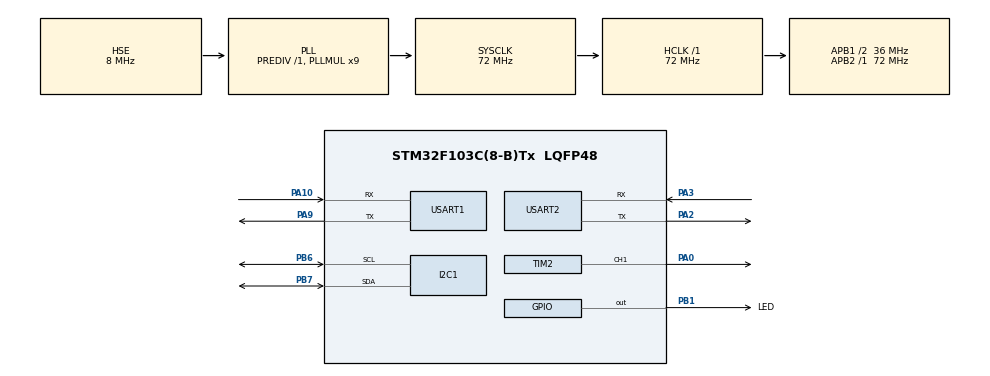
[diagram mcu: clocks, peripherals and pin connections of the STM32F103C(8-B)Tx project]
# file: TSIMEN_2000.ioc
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ADC1.Channel-0\#ChannelRegularConversion=ADC_CHANNEL_TEMPSENSOR
ADC1.ContinuousConvMode=ENABLE
ADC1.NbrOfConversionFlag=1
ADC1.Rank-0\#ChannelRegularConversion=1
ADC1.SamplingTime-0\#ChannelRegularConversion=ADC_SAMPLETIME_71CYCLES_5
ADC1.master=1
Dma.Request0=USART1_RX
Dma.Request1=USART1_TX
Dma.Request2=USART2_RX
Dma.Request3=USART2_TX
Dma.USART1_RX.0.Direction=DMA_PERIPH_TO_MEMORY
Dma.USART1_RX.0.Instance=DMA1_Channel5
Dma.USART1_RX.0.MemDataAlignment=DMA_MDATAALIGN_BYTE
Dma.USART1_RX.0.MemInc=DMA_MINC_ENABLE
Dma.USART1_RX.0.Mode=DMA_CIRCULAR
Dma.USART1_RX.0.PeriphDataAlignment=DMA_PDATAALIGN_BYTE
Dma.USART1_RX.0.PeriphInc=DMA_PINC_DISABLE
Dma.USART1_RX.0.Priority=DMA_PRIORITY_LOW
Dma.USART1_TX.1.Direction=DMA_MEMORY_TO_PERIPH
Dma.USART1_TX.1.Instance=DMA1_Channel4
Dma.USART1_TX.1.MemDataAlignment=DMA_MDATAALIGN_BYTE
Dma.USART1_TX.1.MemInc=DMA_MINC_ENABLE
Dma.USART1_TX.1.Mode=DMA_NORMAL
Dma.USART1_TX.1.PeriphDataAlignment=DMA_PDATAALIGN_BYTE
Dma.USART1_TX.1.PeriphInc=DMA_PINC_DISABLE
Dma.USART1_TX.1.Priority=DMA_PRIORITY_LOW
Dma.USART2_RX.2.Direction=DMA_PERIPH_TO_MEMORY
Dma.USART2_RX.2.Instance=DMA1_Channel6
Dma.USART2_RX.2.MemDataAlignment=DMA_MDATAALIGN_BYTE
Dma.USART2_RX.2.MemInc=DMA_MINC_ENABLE
Dma.USART2_RX.2.Mode=DMA_CIRCULAR
Dma.USART2_RX.2.PeriphDataAlignment=DMA_PDATAALIGN_BYTE
Dma.USART2_RX.2.PeriphInc=DMA_PINC_DISABLE
Dma.USART2_RX.2.Priority=DMA_PRIORITY_LOW
Dma.USART2_TX.3.Direction=DMA_MEMORY_TO_PERIPH
Dma.USART2_TX.3.Instance=DMA1_Channel7
Dma.USART2_TX.3.MemDataAlignment=DMA_MDATAALIGN_BYTE
Dma.USART2_TX.3.MemInc=DMA_MINC_ENABLE
Dma.USART2_TX.3.Mode=DMA_NORMAL
Dma.USART2_TX.3.PeriphDataAlignment=DMA_PDATAALIGN_BYTE
Dma.USART2_TX.3.PeriphInc=DMA_PINC_DISABLE
Dma.USART2_TX.3.Priority=DMA_PRIORITY_LOW
Mcu.Family=STM32F1
Mcu.Name=STM32F103C(8-B)Tx
Mcu.Package=LQFP48
NVIC.DMA1_Channel4_IRQn=true\:1\:0\:true\:false\:true\:false\:true
NVIC.DMA1_Channel5_IRQn=true\:1\:0\:true\:false\:true\:false\:true
NVIC.DMA1_Channel6_IRQn=true\:1\:0\:true\:false\:true\:false\:true
NVIC.DMA1_Channel7_IRQn=true\:1\:0\:true\:false\:true\:false\:true
NVIC.PriorityGroup=NVIC_PRIORITYGROUP_4
NVIC.TIM3_IRQn=true\:0\:0\:true\:false\:true\:true\:true
NVIC.USART1_IRQn=true\:1\:0\:true\:false\:true\:true\:true
NVIC.USART2_IRQn=true\:1\:0\:true\:false\:true\:true\:true
PA0-WKUP.Signal=S_TIM2_CH1_ETR
PA10.GPIO_PuPd=GPIO_PULLUP
PA10.Mode=Asynchronous
PA10.Signal=USART1_RX
PA13.Mode=Serial_Wire
PA13.Signal=SYS_JTMS-SWDIO
PA14.Mode=Serial_Wire
PA14.Signal=SYS_JTCK-SWCLK
PA2.Mode=Asynchronous
PA2.Signal=USART2_TX
PA3.GPIO_PuPd=GPIO_PULLUP
PA3.Mode=Asynchronous
PA3.Signal=USART2_RX
PA9.Mode=Asynchronous
PA9.Signal=USART1_TX
PB1.GPIO_Label=LED
PB1.Signal=GPIO_Output
PB6.Mode=I2C
PB6.Signal=I2C1_SCL
PB7.Mode=I2C
PB7.Signal=I2C1_SDA
PD0-OSC_IN.Mode=HSE-External-Oscillator
PD0-OSC_IN.Signal=RCC_OSC_IN
PD1-OSC_OUT.Mode=HSE-External-Oscillator
PD1-OSC_OUT.Signal=RCC_OSC_OUT
ProjectManager.HeapSize=0x200
ProjectManager.StackSize=0x400
ProjectManager.TargetToolchain=MDK-ARM V5
RCC.ADCPresc=RCC_ADCPCLK2_DIV6
RCC.AHBFreq_Value=72000000
RCC.APB1CLKDivider=RCC_HCLK_DIV2
RCC.APB1Freq_Value=36000000
RCC.APB1TimFreq_Value=72000000
RCC.APB2Freq_Value=72000000
RCC.APB2TimFreq_Value=72000000
RCC.HCLKFreq_Value=72000000
RCC.PLLMUL=RCC_PLL_MUL9
RCC.PLLSourceVirtual=RCC_PLLSOURCE_HSE
RCC.SYSCLKFreq_VALUE=72000000
RCC.SYSCLKSource=RCC_SYSCLKSOURCE_PLLCLK
RCC.USBFreq_Value=72000000
SH.S_TIM2_CH1_ETR.0=TIM2_CH1,PWM Generation1 CH1
TIM2.Channel-PWM\ Generation1\ CH1=TIM_CHANNEL_1
TIM2.Period=19999
TIM2.Prescaler=71
TIM3.AutoReloadPreload=TIM_AUTORELOAD_PRELOAD_ENABLE
TIM3.Period=19999
TIM3.Prescaler=7199
USART1.VirtualMode=VM_ASYNC
USART2.VirtualMode=VM_ASYNC
VP_ADC1_TempSens_Input.Mode=IN-TempSens
VP_TIM3_VS_ClockSourceINT.Mode=Internal
board=custom

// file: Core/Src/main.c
/* USER CODE BEGIN Header */
/**
  ******************************************************************************
  * @file           : main.c
  * @brief          : Main program body
  ******************************************************************************
  * @attention
  *
  * Copyright (c) 2022 STMicroelectronics.
  * All rights reserved.
  *
  * This software is licensed under terms that can be found in the LICENSE file
  * in the root directory of this software component.
  * If no LICENSE file comes with this software, it is provided AS-IS.
  *
  ******************************************************************************
  */
/* USER CODE END Header */
#include "main.h"
#include "adc.h"
#include "dma.h"
#include "i2c.h"
#include "tim.h"
#include "usart.h"
#include "gpio.h"

/* USER CODE BEGIN Includes */
#include "sht30_i2c_driver.h"
#include <stdio.h>
#include <stdlib.h>
#include <string.h>
#include <math.h>
/* USER CODE END Includes */

/* USER CODE BEGIN PV */

//----- Miscellaneous variable definitions
uint8_t CRC_j = 0, CRC_i = 0, WHILEA = 0, memv_i = 0, A = 0;
uint32_t WAIT_TIME = 0x00000000;
uint16_t crc = 0xFFFF, CRC16 = 0;
uint8_t CRC_DATA[8], CHECKDATA[8], SPECTRAL_DATA[2063], DoubleBuf[8],sadasee;
// double Wave_Coefficient[6] = {0.11,-0.111,0.01,0.02,0.003,121.04},Wavelength[1024] = {0};
double Wave_Coefficient[6] = {0.11,-0.1232,0.332,0.1421,0.223,181.87652}, Wavelength;
float Energy[16388];
int PWM_DARK = 950, PWM_REFERENCE = 1130, PWM_SAMPLE = 700;
long long int Dou_i = 0;

//----- Master computer communication command (11 instructions)
uint8_t USART1_Tsimen_Reset[]     = {0x01,0x01,0x00,0x00,0x00,0x00,0x0A,0x3C};      // Global reset
// uint8_t USART1_Tsimen_Version[]   = {'T','S','-','2','0','0','0','-','0','0','0','0','0','1'};        // Tsimen Code Version
uint8_t USART1_Tsimen_Version[]   = "TS-2000-000001";                               // Tsimen Code Version
uint8_t USART1_Tsimen_Ver[]       = {0x01,0x02,0x00,0x00,0x00,0x00,0x0A,0x78};      // Read the sensor version
uint8_t USART1_Tsimen_Int[]       = {0x01,0x03,0x00,0x00,0x01,0xF4,0xDD,0x45};      // Set the spectrometer integration time (example)
uint8_t USART1_Tsimen_CheckInt[]  = {0x01,0x04,0x00,0x00,0x00,0x00,0x0A,0xF0};      // Check the current integration time of the spectrometer
uint8_t USART1_Tsimen_Ave[]       = {0x01,0x05,0x00,0x32,0x00,0x00,0x05,0x6C};      // Set the spectrometer average Times (example)
uint8_t USART1_Tsimen_CheckAve[]  = {0x01,0x06,0x00,0x00,0x00,0x00,0xCA,0x89};      // Check the current average times of the spectrometer
uint8_t USART1_Tsimen_DarSignal[] = {0x01,0x07,0x00,0x00,0x00,0x00,0x0A,0xB4};      // Read the spectrometer data under dark current conditions
uint8_t USART1_Tsimen_RefSignal[] = {0x01,0x08,0x00,0x00,0x00,0x00,0x0B,0xE0};      // Read the spectrometer data under reference signal conditions
uint8_t USART1_Tsimen_SamSignal[] = {0x01,0x09,0x00,0x00,0x00,0x00,0xCB,0xDD};      // Read the spectrometer data under sample signal conditions
uint8_t USART1_Tsimen_FullData[]  = {0x01,0x0A,0x00,0x00,0x00,0x00,0xCB,0x99};      // One-click acquisition of dark, parametric and sample spectrometer data
uint8_t USART1_Tsimen_TempData[]  = {0x01,0x0B,0x00,0x00,0x00,0x00,0x0B,0xA4};      // Read temperature and humidity data
uint8_t USART1_Tsimen_Jump[]      = {0x01,0x0C,0x00,0x00,0x00,0x00,0xCB,0x11};      // Send message to the STM32 for                                                              w'd jumping out of loop.
uint8_t USART1_Tsimen_OK[]        = {0x01,0x52,0x49};                               // OK code
uint8_t USART1_Tsimen_ERROR[]     = {0x01,0x46,0x41};                               // ERROR code
uint8_t USART1_Tsimen_SpecOK[]    = {0x01,0x53,0x50,0x45,0x43,0x4f,0x4b};           // Handle with the Spectrometer
uint8_t USART1_Tsimen_SpecERROR[] = {0x01,0x53,0x50,0x45,0x43,0x45,0x52};           // Spectrometer has some problems, maybe it is broken
uint8_t USART1_Tsimen_CRCERROR[]  = {0x01,0x43,0x52,0x43,0x45,0x52};                // CRC ERROR
uint8_t USART1_Tsimen_WL[]        = {0x01,0x0D,0x00,0x00,0x00,0x00,0x0B,0x2C};      // Read the calibrated wavelength
uint8_t USART1_Tsimen_SetWL[]     = {0x01,0x0E,0x00,0x00,0x00,0x00,0x00,0x00,0x00,0x00,0x00,0x00,0x00,0x00,0x00,0x00,0x00,0x00,0x00,0x00,0x00,0x00,0x00,0x00,0x00,0x00,0xC4,0xCE};
uint8_t USART1_Tsimen_WC[]        = {0x01,0x0F,0x00,0x00,0x00,0x00,0xCB,0X55};      // Read the wavelength cofficient
uint8_t USART1_Tsimen_SetEN[]     = {0x01,0x10};                                    // Set the energy cofficient

//----- Spectrometer communication command ()
uint8_t USART2_Spec_Reset[]       = {0x52,0xBD,0x3E};                               // Spec reset
uint8_t USART2_Spec_Int[]         = {0x69,0x00,0x00,0x01,0xF4,0x1E,0x78};           // Set spec int time
uint8_t USART2_Spec_Int_Default[] = {0x69,0x00,0x00,0x01,0xF4,0x1E,0x78};           // Default spec int time
uint8_t USART2_Spec_CheckInt[]    = {0x3F,0x69,0x6E,0xD0};                          // Check spec int time
uint8_t USART2_Spec_Ave[]         = {0x41,0x00,0x14,0xDB,0x21};                     // Set spec average
uint8_t USART2_Spec_Ave_Default[] = {0x41,0x00,0x32,0x01,0xA0};                     // Default spec average
uint8_t USART2_Spec_CheckAve[]    = {0x3F,0x41,0x70,0xD0};                          // Check spec average
uint8_t USART2_Spec_XenonOff[]    = {0x31,0x00,0x20,0x14};                          // Turn the xenon off
uint8_t USART2_Spec_XenonOnCon[]  = {0x31,0x01,0xE0,0xD5};                          // Turn the xenon on under continuous mode
uint8_t USART2_Spec_XenonOnOne[]  = {0x31,0x81,0x40,0xD4};                          // Turn the xenon on under signal mode
uint8_t USART2_Spec_Data[]        = {0x53,0x7D,0xFF};                               // Read spec data
uint8_t USART2_Spec_OK[]          = {0x06,0x42,0x3F};                               // OK code
uint8_t USART2_Spec_ERROR[]       = {0x15,0x8F,0x7E};                               // ERROR code
uint8_t USART2_Spec_FormData[]    = {0x06,0xAA,0x55,0xBB,0x44,0xCC,0x33,0xDD,0x22}; // Spectrometer Form Data

/* USER CODE END PV */

void SystemClock_Config(void);

int main(void)
{

  /* MCU Configuration--------------------------------------------------------*/

  /* Reset of all peripherals, Initializes the Flash interface and the Systick. */
  HAL_Init();

  /* USER CODE BEGIN Init */
  memset(I2CRXBuffer,0,sizeof(I2CRXBuffer));
  memset(CRC_DATA,0,sizeof(CRC_DATA));
  memset(DATA_CACHE1,0,RX1BUFFERSIZE);
  memset(DATA_CACHE2,0,RX2BUFFERSIZE);
  /* USER CODE END Init */

  /* Configure the system clock */
  SystemClock_Config();

  /* Initialize all configured peripherals */
  MX_GPIO_Init();
  MX_DMA_Init();
  MX_ADC1_Init();
  MX_I2C1_Init();
  MX_TIM2_Init();
  MX_USART1_UART_Init();
  MX_USART2_UART_Init();
  MX_TIM3_Init();
  /* USER CODE BEGIN 2 */
  STM32_Init();
  SPEC_Init();

  // __HAL_TIM_SET_COMPARE(&htim2,TIM_CHANNEL_1,2500);
  // HAL_Delay(1500);

  // HAL_TIM_Base_Start_IT(&htim3);

  /* USER CODE END 2 */

  /* Infinite loop */
  /* USER CODE BEGIN WHILE */
  while (1)
  {

    //----- Working LED
    HAL_GPIO_TogglePin(GPIOB,LED_Pin);
    HAL_Delay(50);

    /*--------------------------------------------------Main Part-------------------------------------------------------*/

    //----- command one: Global reset
    if (memcmp(DATA_CACHE1,USART1_Tsimen_Reset,sizeof(USART1_Tsimen_Reset)) == RESET)
    {
      CRC16 = ModBus_CRC16(DATA_CACHE1,6);
      if (DATA_CACHE1[7]==(uint8_t)CRC16&0xFF && DATA_CACHE1[6]==(uint8_t)(CRC16>>8)&0xFF)
      {
        CRC16 = 0;
        // __set_PRIMASK(1);
        // HAL_NVIC_SystemReset();
        PWM_PulseWidth(PWM_DARK);
        HAL_UART_Transmit(&huart2,USART2_Spec_Reset,sizeof(USART2_Spec_Reset),0xFFFF);
        HAL_Delay(1500);
        HAL_UART_Transmit(&huart2,USART2_Spec_Int_Default,sizeof(USART2_Spec_Int_Default),0xFFFF);
        HAL_Delay(30);
        HAL_UART_Transmit(&huart2,USART2_Spec_Ave_Default,sizeof(USART2_Spec_Ave_Default),0xFFFF);
        HAL_Delay(30);
        // Config_WaitTime();
        WaitandClear();
      }

      else
      {
        HAL_UART_Transmit(&huart1,USART1_Tsimen_CRCERROR,sizeof(USART1_Tsimen_CRCERROR),0xFFFF);
        memset(DATA_CACHE1,0,RX1BUFFERSIZE);
      }
    }

    //----- command two: Read the sensor Version
    else if (memcmp(DATA_CACHE1,USART1_Tsimen_Ver,6) == RESET)
    {
      CRC16 = ModBus_CRC16(DATA_CACHE1,6);
      if (DATA_CACHE1[7]==(uint8_t)CRC16&0xFF && DATA_CACHE1[6]==(uint8_t)(CRC16>>8)&0xFF)
      {
        CRC16 = 0; //Reset the CRC16 virable
        HAL_UART_Transmit(&huart1,USART1_Tsimen_Version,sizeof(USART1_Tsimen_Version),0xFFFF);
        memset(DATA_CACHE1,0,RX1BUFFERSIZE);
      }
      else
      {
        HAL_UART_Transmit(&huart1,USART1_Tsimen_CRCERROR,sizeof(USART1_Tsimen_CRCERROR),0xFFFF);
        memset(DATA_CACHE1,0,RX1BUFFERSIZE);
      }
    }

    //----- command three: Set the spectrometer integration time
    else if (memcmp(DATA_CACHE1,USART1_Tsimen_Int,2) == RESET)
    {
      CRC16 = ModBus_CRC16(DATA_CACHE1,6);
      if (DATA_CACHE1[7]==(uint8_t)CRC16&0xFF && DATA_CACHE1[6]==(uint8_t)(CRC16>>8)&0xFF)
      {
        CRC16 = 0;
        memv(USART2_Spec_Int,DATA_CACHE1,2,3,4);
        CRC16 = ModBus_CRC16(USART2_Spec_Int,5);
        USART2_Spec_Int[6] = CRC16&0xFF;
        USART2_Spec_Int[5] = (CRC16>>8)&0xFF;
        CRC16 = 0;
        HAL_UART_Transmit(&huart2,USART2_Spec_Int,sizeof(USART2_Spec_Int),0xFFFF);
        HAL_Delay(30);
        WaitandClear();
        // Config_WaitTime();
      }

      else
      {
        HAL_UART_Transmit(&huart1,USART1_Tsimen_CRCERROR,sizeof(USART1_Tsimen_CRCERROR),0xFFFF);
        memset(DATA_CACHE1,0,RX1BUFFERSIZE);
      }
    }

    //----- command four: Check the spectrometer integration time
    else if (memcmp(DATA_CACHE1,USART1_Tsimen_CheckInt,sizeof(USART1_Tsimen_CheckInt)) == RESET)
    {
      CRC16 = ModBus_CRC16(DATA_CACHE1,6);
      if (DATA_CACHE1[7]==(uint8_t)CRC16&0xFF && DATA_CACHE1[6]==(uint8_t)(CRC16>>8)&0xFF)
      {
        CRC16 = 0;
        HAL_UART_Transmit(&huart2,USART2_Spec_CheckInt,sizeof(USART2_Spec_CheckInt),0xFFFF);
        HAL_Delay(30);
        memv(CHECKDATA,DATA_CACHE2,1,2,4);
        HAL_UART_Transmit(&huart1,CHECKDATA,4,0xFFFF);
        USART_RX2_LENDEMO = 0;
        memset(DATA_CACHE1,0,RX1BUFFERSIZE);
        memset(DATA_CACHE2,0,RX2BUFFERSIZE);
      }

      else
      {
        HAL_UART_Transmit(&huart1,USART1_Tsimen_CRCERROR,sizeof(USART1_Tsimen_CRCERROR),0xFFFF);
        memset(DATA_CACHE1,0,RX1BUFFERSIZE);
      }
    }

    //----- command five: Set the spectrometer average Times
    else if (memcmp(DATA_CACHE1,USART1_Tsimen_Ave,2) == RESET)
    {
      CRC16 = ModBus_CRC16(DATA_CACHE1,6);
      if (DATA_CACHE1[7]==(uint8_t)CRC16&0xFF && DATA_CACHE1[6]==(uint8_t)(CRC16>>8)&0xFF)
      {
        CRC16 = 0;
        memv(USART2_Spec_Ave,DATA_CACHE1,2,3,2);
        CRC16 = ModBus_CRC16(USART2_Spec_Ave,3);
        USART2_Spec_Ave[4] = CRC16&0xFF;
        USART2_Spec_Ave[3] = (CRC16>>8)&0xFF;
        CRC16 = 0;
        HAL_UART_Transmit(&huart2,USART2_Spec_Ave,sizeof(USART2_Spec_Ave),0xFFFF);
        HAL_Delay(30);
        WaitandClear();
        // Config_WaitTime();
      }

      else
      {
        HAL_UART_Transmit(&huart1,USART1_Tsimen_CRCERROR,sizeof(USART1_Tsimen_CRCERROR),0xFFFF);
        memset(DATA_CACHE1,0,RX1BUFFERSIZE);
      }
    }

    //----- command six: Check the current average times of the spectrometer
    else if (memcmp(DATA_CACHE1,USART1_Tsimen_CheckAve,sizeof(USART2_Spec_CheckAve)) == RESET)
    {
      CRC16 = ModBus_CRC16(DATA_CACHE1,6);
      if (DATA_CACHE1[7]==(uint8_t)CRC16&0xFF && DATA_CACHE1[6]==(uint8_t)(CRC16>>8)&0xFF)
      {
        CRC16 = 0;
        HAL_UART_Transmit(&huart2,USART2_Spec_CheckAve,sizeof(USART2_Spec_CheckAve),0xFFFF);
        HAL_Delay(30);
        memv(CHECKDATA,DATA_CACHE2,1,2,2);
        HAL_UART_Transmit(&huart1,CHECKDATA,2,0xFFFF);
        USART_RX2_LENDEMO = 0;
        memset(DATA_CACHE1,0,RX1BUFFERSIZE);
        memset(DATA_CACHE2,0,RX2BUFFERSIZE);
      }

      else
      {
        HAL_UART_Transmit(&huart1,USART1_Tsimen_CRCERROR,sizeof(USART1_Tsimen_CRCERROR),0xFFFF);
        memset(DATA_CACHE1,0,RX1BUFFERSIZE);
      }
    }

    //----- command seven: Read the spectrometer data under dark current conditions
    else if (memcmp(DATA_CACHE1,USART1_Tsimen_DarSignal,sizeof(USART1_Tsimen_DarSignal)) == RESET)
    {
      CRC16 = ModBus_CRC16(DATA_CACHE1,6);
      if (DATA_CACHE1[7]==(uint8_t)CRC16&0xFF && DATA_CACHE1[6]==(uint8_t)(CRC16>>8)&0xFF)
      {
        CRC16 = 0;
        HAL_UART_DMAStop(&huart1);
        __HAL_UART_DISABLE_IT(&huart1,UART_IT_IDLE);
        GetSpecData(USART2_Spec_XenonOff,PWM_DARK);
        __HAL_UART_ENABLE_IT(&huart1,UART_IT_IDLE);
        HAL_UART_Receive_DMA(&huart1,USART_RX1_BUFFER,RX1BUFFERSIZE);
      }

      else
      {
        HAL_UART_Transmit(&huart1,USART1_Tsimen_CRCERROR,sizeof(USART1_Tsimen_CRCERROR),0xFFFF);
        memset(DATA_CACHE1,0,RX1BUFFERSIZE);
      }
    }

    //----- command eight: Read the spectrometer data under reference signal conditions
    else if (memcmp(DATA_CACHE1,USART1_Tsimen_RefSignal,sizeof(USART1_Tsimen_RefSignal)) == RESET)
    {
      CRC16 = ModBus_CRC16(DATA_CACHE1,6);
      if (DATA_CACHE1[7]==(uint8_t)CRC16&0xFF && DATA_CACHE1[6]==(uint8_t)(CRC16>>8)&0xFF)
      {
        CRC16 = 0;
        HAL_UART_DMAStop(&huart1);
        __HAL_UART_DISABLE_IT(&huart1,UART_IT_IDLE);
        GetSpecData(USART2_Spec_XenonOnOne,PWM_REFERENCE);
        __HAL_UART_ENABLE_IT(&huart1,UART_IT_IDLE);
        HAL_UART_Receive_DMA(&huart1,USART_RX1_BUFFER,RX1BUFFERSIZE);
      }

      else
      {
        HAL_UART_Transmit(&huart1,USART1_Tsimen_CRCERROR,sizeof(USART1_Tsimen_CRCERROR),0xFFFF);
        memset(DATA_CACHE1,0,RX1BUFFERSIZE);
      }
    }

    //----- command nine: Read the spectrometer data under sample signal conditions
    else if (memcmp(DATA_CACHE1,USART1_Tsimen_SamSignal,sizeof(USART1_Tsimen_SamSignal)) == RESET)
    {
      CRC16 = ModBus_CRC16(DATA_CACHE1,6);
      if (DATA_CACHE1[7]==(uint8_t)CRC16&0xFF && DATA_CACHE1[6]==(uint8_t)(CRC16>>8)&0xFF)
      {
        CRC16 = 0;
        HAL_UART_DMAStop(&huart1);
        __HAL_UART_DISABLE_IT(&huart1,UART_IT_IDLE);
        GetSpecData(USART2_Spec_XenonOnOne,PWM_SAMPLE);
        __HAL_UART_ENABLE_IT(&huart1,UART_IT_IDLE);
        HAL_UART_Receive_DMA(&huart1,USART_RX1_BUFFER,RX1BUFFERSIZE);
      }

      else
      {
        HAL_UART_Transmit(&huart1,USART1_Tsimen_CRCERROR,sizeof(USART1_Tsimen_CRCERROR),0xFFFF);
        memset(DATA_CACHE1,0,RX1BUFFERSIZE);
      }
    }

    //----- command ten: One-click acquisition of dark, parametric and sample spectrometer data
    else if (memcmp(DATA_CACHE1,USART1_Tsimen_FullData,sizeof(USART1_Tsimen_FullData)) == RESET)
    {
      CRC16 = ModBus_CRC16(DATA_CACHE1,6);
      if (DATA_CACHE1[7]==(uint8_t)CRC16&0xFF && DATA_CACHE1[6]==(uint8_t)(CRC16>>8)&0xFF)
      {
        CRC16 = 0;
        HAL_UART_DMAStop(&huart1);
        __HAL_UART_DISABLE_IT(&huart1,UART_IT_IDLE);
        GetSpecData(USART2_Spec_XenonOff,PWM_DARK);
        HAL_Delay(50);
        GetSpecData(USART2_Spec_XenonOnOne,PWM_REFERENCE);
        HAL_Delay(50);
        GetSpecData(USART2_Spec_XenonOnOne,PWM_SAMPLE);
        __HAL_UART_ENABLE_IT(&huart1,UART_IT_IDLE);
        HAL_UART_Receive_DMA(&huart1,USART_RX1_BUFFER,RX1BUFFERSIZE);
      }

      else
      {
        HAL_UART_Transmit(&huart1,USART1_Tsimen_CRCERROR,sizeof(USART1_Tsimen_CRCERROR),0xFFFF);
        memset(DATA_CACHE1,0,RX1BUFFERSIZE);
      }
    }

    //----- command eleven: Read temperature and humidity data
    else if (memcmp(DATA_CACHE1,USART1_Tsimen_TempData,sizeof(USART1_Tsimen_TempData)) == RESET)
    {
      CRC16 = ModBus_CRC16(DATA_CACHE1,6);
      if (DATA_CACHE1[7]==(uint8_t)CRC16&0xFF && DATA_CACHE1[6]==(uint8_t)(CRC16>>8)&0xFF)
      {
        CRC16 = 0;
        HAL_UART_DMAStop(&huart1);
        __HAL_UART_DISABLE_IT(&huart1,UART_IT_IDLE);
        HAL_UART_DMAStop(&huart2);
        __HAL_UART_DISABLE_IT(&huart2,UART_IT_IDLE);
        Measure_TR();
        InsideTemperature();
        __HAL_UART_ENABLE_IT(&huart1,UART_IT_IDLE);
        HAL_UART_Receive_DMA(&huart1,USART_RX1_BUFFER,RX1BUFFERSIZE);
        __HAL_UART_ENABLE_IT(&huart2,UART_IT_IDLE);
        HAL_UART_Receive_DMA(&huart2,USART_RX2_BUFFER,RX2BUFFERSIZE);
        memset(DATA_CACHE1,0,RX1BUFFERSIZE);
      }

      else
      {
        HAL_UART_Transmit(&huart1,USART1_Tsimen_CRCERROR,sizeof(USART1_Tsimen_CRCERROR),0xFFFF);
        memset(DATA_CACHE1,0,RX1BUFFERSIZE);
      }
    }
  __HAL_TIM_SET_COMPARE(&htim2,TIM_CHANNEL_1,PWM_DARK);
  HAL_Delay(500);
  __HAL_TIM_SET_COMPARE(&htim2,TIM_CHANNEL_1,PWM_REFERENCE);
  HAL_Delay(500);
  __HAL_TIM_SET_COMPARE(&htim2,TIM_CHANNEL_1,PWM_SAMPLE);
  HAL_Delay(500);
    //----- command twelve: Read the wavelenth
    // else if (memcmp(DATA_CACHE1,USART1_Tsimen_WL,sizeof(USART1_Tsimen_WL)) == RESET)
    // {
    //   CRC16 = ModBus_CRC16(DATA_CACHE1,6);
    //   if (DATA_CACHE1[7]==(uint8_t)CRC16&0xFF && DATA_CACHE1[6]==(uint8_t)(CRC16>>8)&0xFF)
    //   {
    //     CRC16 = 0;

    //     //Counter the wavelenth and Send them to the master
    //     for (Dou_i=1;Dou_i<1025;Dou_i++)
    //     {
    //       Wavelength =
    //       Wave_Coefficient[0]*(long long int)Dou_i*(long long int)Dou_i*(long long int)Dou_i*(long long int)Dou_i*(long long int)Dou_i+
    //       Wave_Coefficient[1]*(long long int)Dou_i*(long long int)Dou_i*(long long int)Dou_i*(long long int)Dou_i+
    //       Wave_Coefficient[2]*(long long int)Dou_i*(long long int)Dou_i*(long long int)Dou_i+
    //       Wave_Coefficient[3]*(long long int)Dou_i*(long long int)Dou_i+
    //       Wave_Coefficient[4]*(long long int)Dou_i+
    //       Wave_Coefficient[5];
    //       // // DoubleBuf[7] = *((uint8_t*)&Wavelength);
    //       // // DoubleBuf[6] = *((uint8_t*)&Wavelength+1);
    //       // // DoubleBuf[5] = *((uint8_t*)&Wavelength+2);
    //       // // DoubleBuf[4] = *((uint8_t*)&Wavelength+3);
    //       // // DoubleBuf[3] = *((uint8_t*)&Wavelength+4);
    //       // // DoubleBuf[2] = *((uint8_t*)&Wavelength+5);
    //       // // DoubleBuf[1] = *((uint8_t*)&Wavelength+6);
    //       // // DoubleBuf[0] = *((uint8_t*)&Wavelength+7);
    //       // // HAL_UART_Transmit(&huart1,DoubleBuf,sizeof(DoubleBuf),0xFFFF);
    //       printf("%lf\r\n",Wavelength);
    //     }

    //     memset(DATA_CACHE1,0,RX1BUFFERSIZE);
    //   }

    //   else
    //   {
    //     HAL_UART_Transmit(&huart1,USART1_Tsimen_CRCERROR,sizeof(USART1_Tsimen_CRCERROR),0xFFFF);
    //     memset(DATA_CACHE1,0,RX1BUFFERSIZE);
    //   }
    // }

    //----- command thirteen: Set the wavelength cofficient
    // else if (memcmp(DATA_CACHE1,USART1_Tsimen_SetWL,2) == RESET)
    // {
    //   CRC16 = ModBus_CRC16(DATA_CACHE1,50);
    //   if (DATA_CACHE1[51]==(uint8_t)CRC16&0xFF && DATA_CACHE1[50]==(uint8_t)(CRC16>>8)&0xFF)
    //   {
    //     CRC16 = 0;
    //     Receive_WavelengthCoefficient(DATA_CACHE1,50);
    //     HAL_UART_Transmit(&huart1,USART1_Tsimen_OK,sizeof(USART1_Tsimen_OK),0xFFFF);
    //     memset(DATA_CACHE1,0,RX1BUFFERSIZE);
    //   }

    //   else
    //   {
    //     HAL_UART_Transmit(&huart1,USART1_Tsimen_CRCERROR,sizeof(USART1_Tsimen_CRCERROR),0xFFFF);
    //     memset(DATA_CACHE1,0,RX1BUFFERSIZE);
    //   }
    // }

    //----- command fouteen: Read the wavelength cofficient
    // else if (memcmp(DATA_CACHE1,USART1_Tsimen_WC,sizeof(USART1_Tsimen_WC)) == RESET)
    // {
    //   CRC16 = ModBus_CRC16(DATA_CACHE1,6);
    //   if (DATA_CACHE1[7]==(uint8_t)CRC16&0xFF && DATA_CACHE1[6]==(uint8_t)(CRC16>>8)&0xFF)
    //   {
    //     CRC16 = 0;
    //     Send_WavelengthCoefficient(Wave_Coefficient,6);
    //     memset(DATA_CACHE1,0,RX1BUFFERSIZE);
    //   }

    //   else
    //   {
    //     HAL_UART_Transmit(&huart1,USART1_Tsimen_CRCERROR,sizeof(USART1_Tsimen_CRCERROR),0xFFFF);
    //     memset(DATA_CACHE1,0,RX1BUFFERSIZE);
    //   }
    // }

    // ----- command fifteen: Set the energy cofficient
    // else if (memcmp(DATA_CACHE1,USART1_Tsimen_SetWL,2) == RESET)
    // {
    //   CRC16 = ModBus_CRC16(DATA_CACHE1,26);
    //   if (DATA_CACHE1[7]==(uint8_t)CRC16&0xFF && DATA_CACHE1[6]==(uint8_t)(CRC16>>8)&0xFF)
    //   {
    //     CRC16 = 0;

    //     memset(DATA_CACHE1,0,RX1BUFFERSIZE);
    //   }

    //   else
    //   {
    //     HAL_UART_Transmit(&huart1,USART1_Tsimen_CRCERROR,sizeof(USART1_Tsimen_CRCERROR),0xFFFF);
    //     memset(DATA_CACHE1,0,RX1BUFFERSIZE);
    //   }
    // }

    /* USER CODE END WHILE */

  }
}

void SystemClock_Config(void)
{
  RCC_OscInitTypeDef RCC_OscInitStruct = {0};
  RCC_ClkInitTypeDef RCC_ClkInitStruct = {0};
  RCC_PeriphCLKInitTypeDef PeriphClkInit = {0};

  /** Initializes the RCC Oscillators according to the specified parameters
  * in the RCC_OscInitTypeDef structure.
  */
  RCC_OscInitStruct.OscillatorType = RCC_OSCILLATORTYPE_HSE;
  RCC_OscInitStruct.HSEState = RCC_HSE_ON;
  RCC_OscInitStruct.HSEPredivValue = RCC_HSE_PREDIV_DIV1;
  RCC_OscInitStruct.HSIState = RCC_HSI_ON;
  RCC_OscInitStruct.PLL.PLLState = RCC_PLL_ON;
  RCC_OscInitStruct.PLL.PLLSource = RCC_PLLSOURCE_HSE;
  RCC_OscInitStruct.PLL.PLLMUL = RCC_PLL_MUL9;
  if (HAL_RCC_OscConfig(&RCC_OscInitStruct) != HAL_OK)
  {
    Error_Handler();
  }
  /** Initializes the CPU, AHB and APB buses clocks
  */
  RCC_ClkInitStruct.ClockType = RCC_CLOCKTYPE_HCLK|RCC_CLOCKTYPE_SYSCLK
                              |RCC_CLOCKTYPE_PCLK1|RCC_CLOCKTYPE_PCLK2;
  RCC_ClkInitStruct.SYSCLKSource = RCC_SYSCLKSOURCE_PLLCLK;
  RCC_ClkInitStruct.AHBCLKDivider = RCC_SYSCLK_DIV1;
  RCC_ClkInitStruct.APB1CLKDivider = RCC_HCLK_DIV2;
  RCC_ClkInitStruct.APB2CLKDivider = RCC_HCLK_DIV1;

  if (HAL_RCC_ClockConfig(&RCC_ClkInitStruct, FLASH_LATENCY_2) != HAL_OK)
  {
    Error_Handler();
  }
  PeriphClkInit.PeriphClockSelection = RCC_PERIPHCLK_ADC;
  PeriphClkInit.AdcClockSelection = RCC_ADCPCLK2_DIV6;
  if (HAL_RCCEx_PeriphCLKConfig(&PeriphClkInit) != HAL_OK)
  {
    Error_Handler();
  }
}

/* USER CODE BEGIN 4 */

/**
 * @brief CRC16 check code. The function is used for data verification when communicating with PC.
 *
 * @param pdata
 * @param len
 * @return uint16_t
 */
uint16_t ModBus_CRC16( uint8_t *pdata, int len)     //polynomial: 8005
{
  crc = 0xFFFF;
  for ( CRC_j=0; CRC_j<len;CRC_j++)
  {
    crc=crc^pdata[CRC_j];
    for ( CRC_i=0; CRC_i<8; CRC_i++)
    {
      if( ( crc&0x0001) >0)
      {
        crc=crc>>1;
        crc=crc^ 0xA001;                            //We take 8005 in reverse.
      }
    else
    crc=crc>>1;
    }
  }
return crc;
}

/**
 * @brief Cut a specific length from the A array to the B array.
 *
 * @param pdata target array
 * @param ppdata truncated array
 * @param st1 start bit of the destination array
 * @param st2 start bit of truncated array
 * @param length The length of the truncated array
 */
void memv(uint8_t *pdata,uint8_t *ppdata,int st1,int st2,int length)
{
  for (memv_i=0;memv_i<length;memv_i++)
  {
    pdata[memv_i+st1-1] = ppdata[memv_i+st2-1];
  }
}

/**
 * @brief Wait and clear the cache data
 *
 */
void WaitandClear(void)
{
        while (WHILEA < 10)
        {
          if (memcmp(DATA_CACHE2,USART2_Spec_OK,3) ==  RESET)
          {
            HAL_UART_Transmit(&huart1,USART1_Tsimen_OK,sizeof(USART1_Tsimen_OK),0xFFFF);
            break;
          }
          else if (memcmp(DATA_CACHE2,USART2_Spec_ERROR,3) == RESET)
          {
            HAL_UART_Transmit(&huart1,USART1_Tsimen_ERROR,sizeof(USART1_Tsimen_ERROR),0xFFFF);
            break;
          }
          WHILEA++;
        }

        if (WHILEA == 10)
        {
          HAL_UART_Transmit(&huart1,USART1_Tsimen_SpecERROR,sizeof(USART1_Tsimen_SpecERROR),0xFFFF);
        }

        WHILEA = 0;
        USART_RX2_LENDEMO = 0;
        memset(DATA_CACHE1,0,RX1BUFFERSIZE);
        memset(DATA_CACHE2,0,RX2BUFFERSIZE);
}

/**
 * @brief Get the Spec Data object
 *
 * @param specdata control the xenon's status
 * @param a set the pulse width of the PWM_timer2
 */
void GetSpecData(uint8_t *specdata,int a)
{
  HAL_UART_Transmit(&huart2,specdata,sizeof(specdata),0xFFFF);
  HAL_Delay(30);

  if (memcmp(DATA_CACHE2,USART2_Spec_OK,sizeof(USART2_Spec_OK)) == RESET)
  {
    PWM_PulseWidth(a);

    memset(DATA_CACHE2,0,RX2BUFFERSIZE);
    // HAL_UART_DMAStop(&huart2);
    // __HAL_UART_DISABLE_IT(&huart2,UART_IT_IDLE);
    HAL_Delay(500);

    HAL_UART_Transmit(&huart2,USART2_Spec_Data,sizeof(USART2_Spec_Data),0xFFFF);
    // HAL_UART_DMAStop(&huart1);
    while (memcmp(DATA_CACHE2,USART2_Spec_FormData,9) != RESET)
    {
      HAL_Delay(20);
      if (memcmp(DATA_CACHE1,USART1_Tsimen_Jump,sizeof(USART1_Tsimen_Jump)) == RESET)
      {
        CRC16 = ModBus_CRC16(DATA_CACHE1,6);
        if (DATA_CACHE1[7]==(uint8_t)CRC16&0xFF && DATA_CACHE1[6]==(uint8_t)(CRC16>>8)&0xFF)
        {
          CRC16 = 0;
          HAL_UART_Transmit(&huart1,USART1_Tsimen_OK,sizeof(USART1_Tsimen_OK),0xFFFF);
          break;
        }
      }
    }
    HAL_Delay(300);
    HAL_UART_Transmit(&huart1,DATA_CACHE2,2063,0xFFFF);

    //----- clear variables
    USART_RX2_LENDEMO = 0;
    memset(DATA_CACHE1,0,RX1BUFFERSIZE);
    memset(DATA_CACHE2,0,RX2BUFFERSIZE);
    // __HAL_UART_ENABLE_IT(&huart2,UART_IT_IDLE);
    // __HAL_UART_ENABLE_IT(&huart2,UART_IT_IDLE);
    // HAL_UART_Receive_DMA(&huart1,USART_RX1_BUFFER,RX1BUFFERSIZE);
    HAL_Delay(20);
    // HAL_UART_Receive_DMA(&huart2,DATA_CACHE2,RX2BUFFERSIZE);
  }

  else if (memcmp(DATA_CACHE2,USART2_Spec_ERROR,sizeof(USART2_Spec_ERROR)) == RESET)
  {
    HAL_UART_Transmit(&huart1,USART1_Tsimen_ERROR,sizeof(USART1_Tsimen_ERROR),0xFFFF);
    memset(DATA_CACHE1,0,RX1BUFFERSIZE);
    memset(DATA_CACHE2,0,RX2BUFFERSIZE);
  }
  else
  {
    HAL_UART_Transmit(&huart1,USART1_Tsimen_SpecERROR,sizeof(USART1_Tsimen_SpecERROR),0xFFFF);
    memset(DATA_CACHE1,0,RX1BUFFERSIZE);
  }
}

/**
 * @brief Init the STM32 System
 *
 */
void STM32_Init(void)
{
  /*--------------------------------------------------Init the usart DMA-------------------------------------------------------*/
  HAL_UART_Receive_DMA(&huart1,USART_RX1_BUFFER,RX1BUFFERSIZE);
  HAL_UART_Receive_DMA(&huart2,USART_RX2_BUFFER,RX2BUFFERSIZE);

  /*--------------------------------------------------Init the PWM-------------------------------------------------------*/
  HAL_TIM_PWM_Start(&htim2,TIM_CHANNEL_1);
  __HAL_TIM_SET_COMPARE(&htim2,TIM_CHANNEL_1,PWM_DARK);
}

/**
 * @brief Init the Spectrometer
 *
 */
void SPEC_Init(void)
{
  HAL_UART_Transmit(&huart2,USART2_Spec_Reset,sizeof(USART2_Spec_Reset),0xFFFF);
  HAL_Delay(1500);
  Judge_SpecStatus();
  HAL_UART_Transmit(&huart2,USART2_Spec_Int_Default,sizeof(USART2_Spec_Int_Default),0xFFFF);
  HAL_Delay(30);
  HAL_UART_Transmit(&huart2,USART2_Spec_Ave_Default,sizeof(USART2_Spec_Ave_Default),0xFFFF);
  HAL_Delay(30);
  // Config_WaitTime();
}

/**
 * @brief Config the wait time
 *
 */
void Config_WaitTime(void)
{
  WAIT_TIME = 0;
  WAIT_TIME = (USART2_Spec_Int[1]<<24) | (USART2_Spec_Int[2]<<16) | (USART2_Spec_Int[3]<<8) | USART2_Spec_Int[4] ;
  WAIT_TIME = WAIT_TIME * (uint32_t)((USART2_Spec_Ave[1]<<8) | USART2_Spec_Ave[2]) ;
  WAIT_TIME = WAIT_TIME / 1000 ;
}

/**
 * @brief To judge the spec status, if the spec is incorrect, send message to the master PC
 *
 */
void Judge_SpecStatus(void)
{
  A = 20 ;
  while (A!=1)
  {
    if (memcmp(DATA_CACHE2,USART2_Spec_OK,sizeof(USART2_Spec_OK)) == RESET)
    {
      HAL_UART_Transmit(&huart1,USART1_Tsimen_SpecOK,sizeof(USART1_Tsimen_SpecOK),0xFFFF);
      USART_RX2_LENDEMO = 0;
      memset(DATA_CACHE2,0,10);
      break;
    }
    A-- ;
  }

  if (A == 1)
  {
    HAL_UART_Transmit(&huart1,USART1_Tsimen_SpecERROR,sizeof(USART1_Tsimen_SpecERROR),0xFFFF);
  }
  A = 0 ;
}

/**
 * @brief Send the wavelength coefficient to the master
 *
 * @param pr the coefficient array
 * @param a lenth
 */
void Send_WavelengthCoefficient(double *pr,uint8_t a)
{
  for (Dou_i=0;Dou_i<a;Dou_i++)
  {
  // DoubleBuf[7] = *((uint8_t*)&pr[Dou_i]);
  // DoubleBuf[6] = *((uint8_t*)&pr[Dou_i]+1);
  // DoubleBuf[5] = *((uint8_t*)&pr[Dou_i]+2);
  // DoubleBuf[4] = *((uint8_t*)&pr[Dou_i]+3);
  // DoubleBuf[3] = *((uint8_t*)&pr[Dou_i]+4);
  // DoubleBuf[2] = *((uint8_t*)&pr[Dou_i]+5);
  // DoubleBuf[1] = *((uint8_t*)&pr[Dou_i]+6);
  // DoubleBuf[0] = *((uint8_t*)&pr[Dou_i]+7);
  // HAL_UART_Transmit(&huart1,DoubleBuf,sizeof(DoubleBuf),0xFFFF);
  printf("%.15lf\r\n",Wave_Coefficient[Dou_i]);
  }
}

/**
 * @brief Receive the Coefficient
 *
 * @param pr
 */
void Receive_WavelengthCoefficient(uint8_t *pr,int a)
{
  for (Dou_i=0;Dou_i<a;Dou_i+=8)
  {
  DoubleBuf[0] = pr[9+Dou_i];
  DoubleBuf[1] = pr[8+Dou_i];
  DoubleBuf[2] = pr[7+Dou_i];
  DoubleBuf[3] = pr[6+Dou_i];
  DoubleBuf[4] = pr[5+Dou_i];
  DoubleBuf[5] = pr[4+Dou_i];
  DoubleBuf[6] = pr[3+Dou_i];
  DoubleBuf[7] = pr[2+Dou_i];
  Wave_Coefficient[Dou_i/8] = *((double*)&DoubleBuf[0]);
  }
}

/* USER CODE END 4 */

void Error_Handler(void)
{
  __disable_irq();
  while (1)
  {
  }
}
